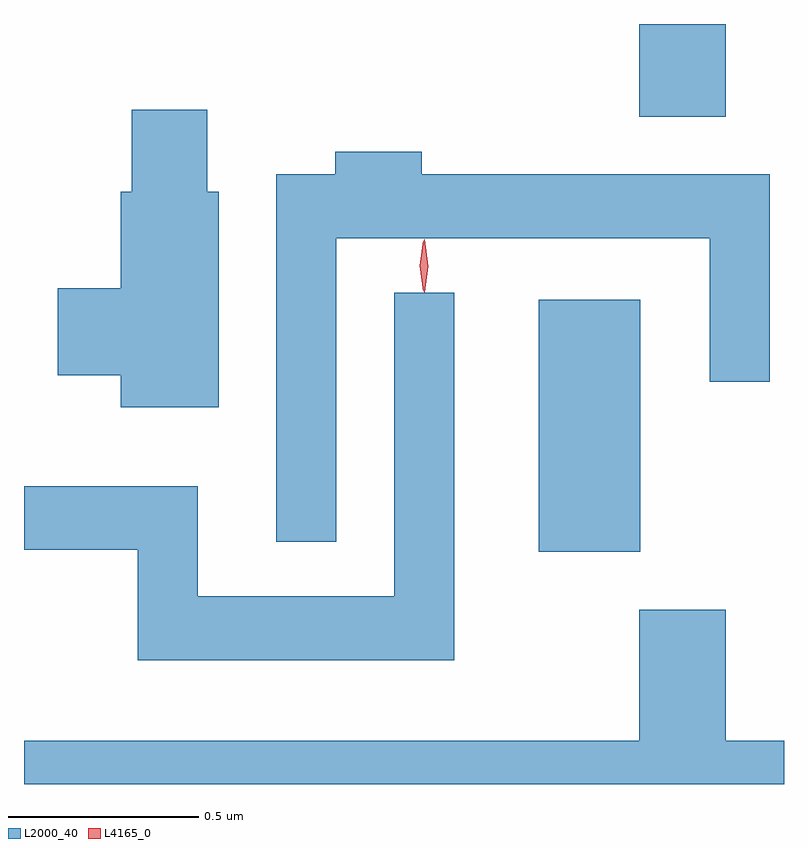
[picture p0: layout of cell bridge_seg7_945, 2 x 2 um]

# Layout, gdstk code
import gdstk
lib = gdstk.Library(unit=1e-6, precision=1e-09)
def R(c, l, rs):  # rectangles x0, y0, x1, y1
    for r in rs: c.add(gdstk.rectangle(r[:2], r[2:], *l))
def P(c, l, *ps):  # polygons
    for p in ps: c.add(gdstk.Polygon(p, *l))
L2000_40 = (2000, 40)
L4165_0 = (4165, 0)

bridge_seg7_945 = lib.new_cell('bridge_seg7_945')
R(bridge_seg7_945, L2000_40, [(417.276,1706.201,417.544,1706.864), (417.541,1707.346,417.769,1707.59)])
P(bridge_seg7_945, L2000_40, [(416.434,1707.149),(416.404,1707.149),(416.404,1707.364),(416.206,1707.364),(416.206,1707.149),(416.176,1707.149),(416.176,1706.894),(416.011,1706.894),(416.011,1706.666),(416.176,1706.666),(416.176,1706.581),(416.434,1706.581)],
  [(416.744,1707.026),(417.726,1707.026),(417.726,1706.648),(417.884,1706.648),(417.884,1707.194),(416.969,1707.194),(416.969,1707.254),(416.741,1707.254),(416.741,1707.194),(416.586,1707.194),(416.586,1706.228),(416.744,1706.228)],
  [(417.054,1706.883),(416.896,1706.883),(416.896,1706.084),(416.379,1706.084),(416.379,1706.374),(415.922,1706.374),(415.922,1706.206),(416.221,1706.206),(416.221,1705.916),(417.054,1705.916)],
  [(417.922,1705.704),(417.769,1705.704),(417.769,1706.049),(417.541,1706.049),(417.541,1705.704),(415.922,1705.704),(415.922,1705.59),(417.922,1705.59)])
P(bridge_seg7_945, L4165_0, [(416.975,1706.884),(416.966,1706.953),(416.975,1707.022),(416.976,1707.023),(416.976,1707.022),(416.986,1706.953),(416.976,1706.884),(416.976,1706.884)],
  [(416.972,1706.887),(416.963,1706.954),(416.972,1707.02),(416.972,1707.02),(416.973,1707.02),(416.983,1706.954),(416.973,1706.887),(416.973,1706.887)])

lib.write_gds('bridge_seg7_945.gds')
